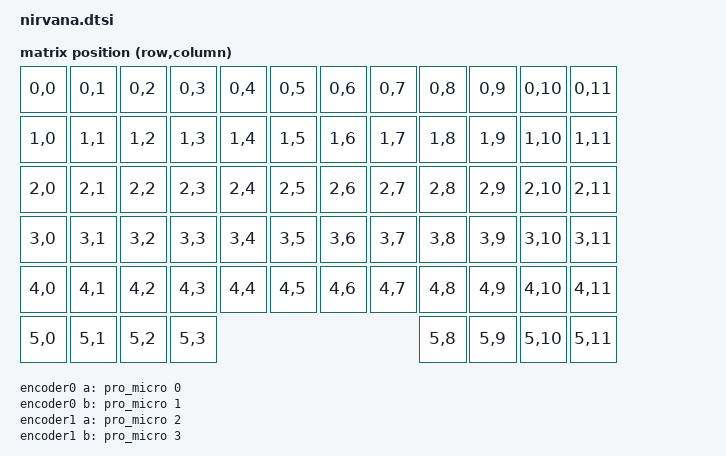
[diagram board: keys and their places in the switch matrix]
#include <dt-bindings/zmk/matrix_transform.h>
#include "nirvana-layouts.dtsi"

// to use gestures this is always necessary:
#include <behaviors/input_processor_gestures.dtsi>

// to translate absolute positions to relative positions. If you don't
// want to use gestures for absolute mode, and you don't want to activate it,
// you can ignore this line
#include <behaviors/input_processor_absolute_to_relative.dtsi>

&physical_layout0 {
    transform = <&default_transform>;
};

/ {
	chosen {
        zmk,kscan = &kscan0;
        zmk,physical-layout = &physical_layout0;
    };

    glidepoint_listener: glidepoint_listener {
        compatible = "zmk,input-listener";
        status = "disabled";
    };

    default_transform: keymap_transform_0 {
        compatible = "zmk,matrix-transform";
        columns = <12>; // 每边 6 列
        rows = <6>;
        map = <
RC(0,0) RC(0,1) RC(0,2) RC(0,3) RC(0,4) RC(0,5)   RC(0,6) RC(0,7) RC(0,8)  RC(0,9)  RC(0,10) RC(0,11)
RC(1,0) RC(1,1) RC(1,2) RC(1,3) RC(1,4) RC(1,5)   RC(1,6) RC(1,7) RC(1,8)  RC(1,9)  RC(1,10) RC(1,11)
RC(2,0) RC(2,1) RC(2,2) RC(2,3) RC(2,4) RC(2,5)   RC(2,6) RC(2,7) RC(2,8)  RC(2,9)  RC(2,10) RC(2,11)
RC(3,0) RC(3,1) RC(3,2) RC(3,3) RC(3,4) RC(3,5)   RC(3,6) RC(3,7) RC(3,8)  RC(3,9)  RC(3,10) RC(3,11)
RC(4,0) RC(4,1) RC(4,2) RC(4,3) RC(4,4) RC(4,5)   RC(4,6) RC(4,7) RC(4,8)  RC(4,9)  RC(4,10) RC(4,11)
RC(5,0) RC(5,1) RC(5,2) RC(5,3)                                   RC(5,8)  RC(5,9)  RC(5,10) RC(5,11)
        >;
    };

    sensors: sensors {
        compatible = "zmk,keymap-sensors";
        sensors = <&encoder0 &encoder1>;
        triggers-per-rotation = <12>;
    };

    encoder0: encoder_0 {
        compatible = "alps,ec11";  // EC05 使用相同驱动
        a-gpios = <&pro_micro 0 (GPIO_ACTIVE_HIGH | GPIO_PULL_UP)>;
        b-gpios = <&pro_micro 1 (GPIO_ACTIVE_HIGH | GPIO_PULL_UP)>;
        steps = <24>;  // EC05: 12 PPR × 2
        status = "okay";
    };

    encoder1: encoder_1 {
        compatible = "alps,ec11";  // EC05 使用相同驱动
        a-gpios = <&pro_micro 2 (GPIO_ACTIVE_HIGH | GPIO_PULL_UP)>;
        b-gpios = <&pro_micro 3 (GPIO_ACTIVE_HIGH | GPIO_PULL_UP)>;
        steps = <24>;  // EC05: 12 PPR × 2
        status = "okay";
    };

	kscan0: kscan {
        compatible = "zmk,kscan-gpio-matrix";
        wakeup-source;

        diode-direction = "col2row";
        // row-gpios 与 col-gpios 在各自的 overlay 文件中定义
    };
    
};

